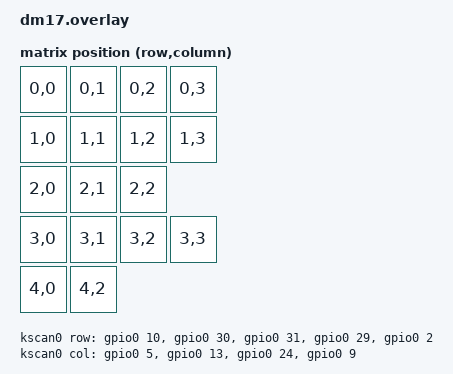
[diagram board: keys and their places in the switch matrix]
#include <dt-bindings/zmk/matrix_transform.h>

/ {
    chosen {
        zmk,kscan = &kscan0;
        zmk,matrix-transform = &default_transform;
        zmk,backlight = &backlight_led_strip; // 新增：指定背光节点
    };

    kscan0: kscan {
        compatible = "zmk,kscan-gpio-matrix";
        label = "KSCAN";
        diode-direction = "col2row";
        col-gpios = < &gpio0 5  GPIO_ACTIVE_HIGH >,
                    < &gpio0 13 GPIO_ACTIVE_HIGH >,
                    < &gpio0 24 GPIO_ACTIVE_HIGH >,
                    < &gpio0 9  GPIO_ACTIVE_HIGH >;
        row-gpios = < &gpio0 10 (GPIO_ACTIVE_HIGH | GPIO_PULL_DOWN) >,
                    < &gpio0 30 (GPIO_ACTIVE_HIGH | GPIO_PULL_DOWN) >,
                    < &gpio0 31 (GPIO_ACTIVE_HIGH | GPIO_PULL_DOWN) >,
                    < &gpio0 29 (GPIO_ACTIVE_HIGH | GPIO_PULL_DOWN) >,
                    < &gpio0 2  (GPIO_ACTIVE_HIGH | GPIO_PULL_DOWN) >;
    };

    default_transform: keymap_transform_0 {
        compatible = "zmk,matrix-transform";
        columns = <4>;
        rows = <5>;
        map = <
            RC(0,0) RC(0,1) RC(0,2) RC(0,3)
            RC(1,0) RC(1,1) RC(1,2) RC(1,3)
            RC(2,0) RC(2,1) RC(2,2)
            RC(3,0) RC(3,1) RC(3,2) RC(3,3)
            RC(4,0) RC(4,2)
        >;
    };
    backlight_led_strip: backlight_led_strip {
        compatible = "pwm-leds";
        label = "Backlight LED Strip";
        led_0 {
            pwms = <&pwm0 3 PWM_MSEC(20) PWM_POLARITY_NORMAL>;
            label = "Backlight LED";
        };
    };
/* 在文件末尾， backlight_led_strip 节点附近添加以下内容 */
&pwm0 {
    status = "okay";
    // 对于nRF52840，可能需要指定通道和引脚映射，但先尝试默认
};
};

